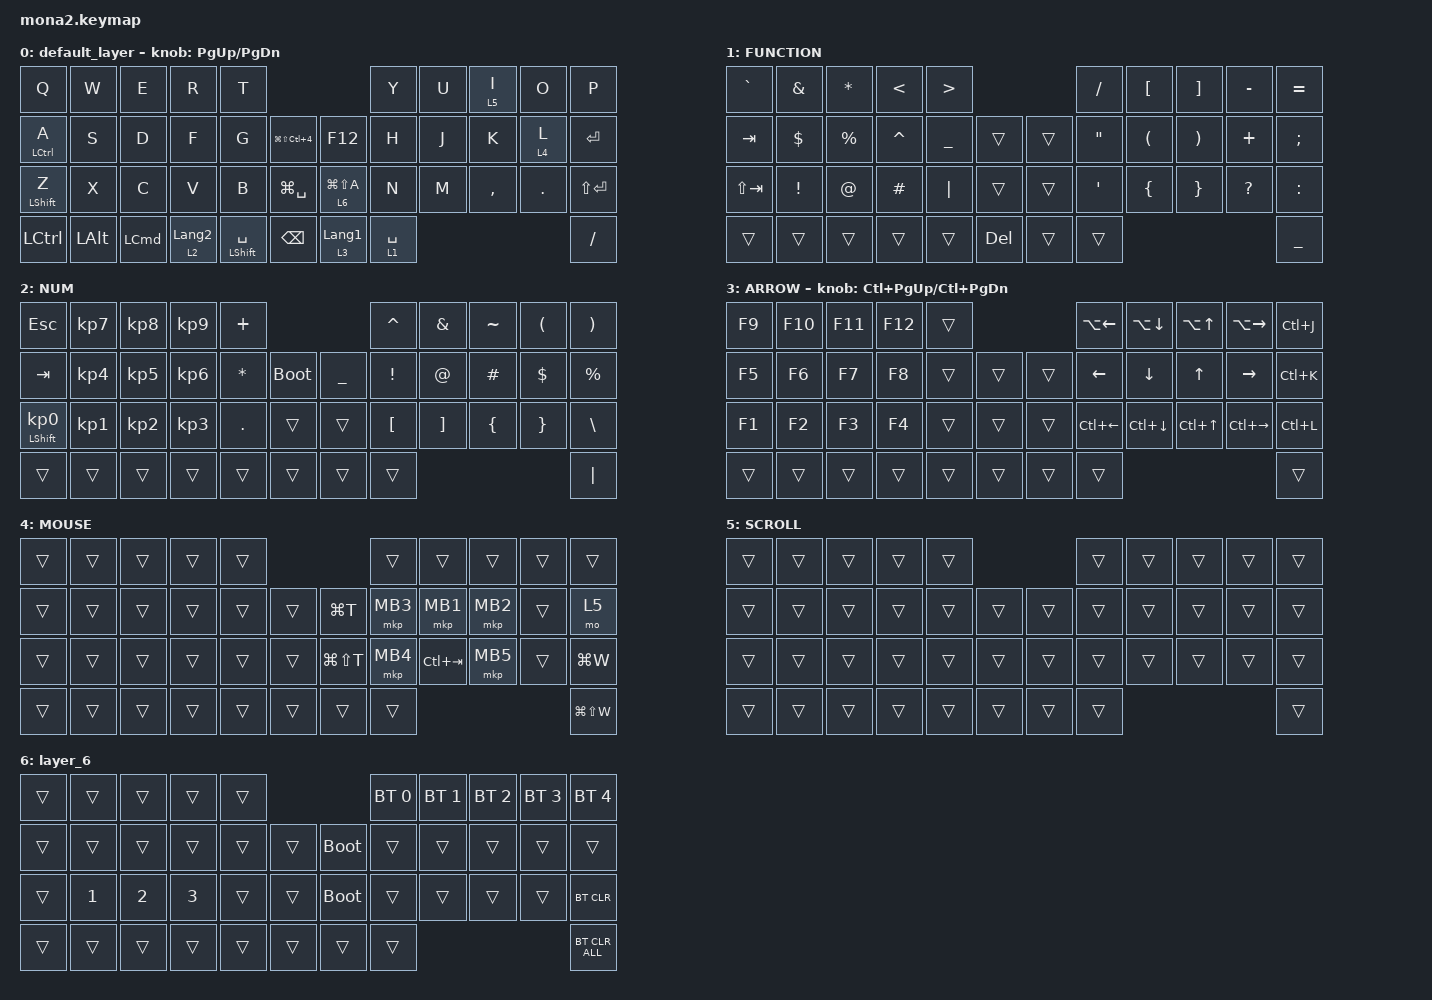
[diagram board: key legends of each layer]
#include <behaviors.dtsi>
#include <dt-bindings/zmk/bt.h>
#include <dt-bindings/zmk/keys.h>
#include <dt-bindings/zmk/pointing.h>

&mt {
    flavor = "balanced";
    quick-tap-ms = <0>;
};

// trackball configuration (disabled for mona2, only available on roBa)
// &trackball {
//     automouse-layer = <4>;
//     scroll-layers = <5>;
//
//     // arrows {
//     //     layers = <3>;
//     //     bindings =
//     //         <&kp RIGHT_ARROW>,
//     //         <&kp LEFT_ARROW>,
//     //         <&kp UP_ARROW>,
//     //         <&kp DOWN_ARROW>;
//     //     tick = <10>;
//     //     wait-ms = <5>;
//     //     tap-ms = <5>;
//     // };
// };

/ {
    combos {
        compatible = "zmk,combos";

        tab {
            bindings = <&kp TAB>;
            key-positions = <11 12>;
        };

        shift_tab {
            bindings = <&kp LS(TAB)>;
            key-positions = <12 13>;
        };

        muhennkann {
            bindings = <&to_layer_0 INT_MUHENKAN>;
            key-positions = <11 10>;
        };

        double_quotation {
            bindings = <&kp DOUBLE_QUOTES>;
            key-positions = <20 21>;
        };

        eq {
            bindings = <&kp EQUAL>;
            key-positions = <24 25>;
        };
    };

    macros {
        to_layer_0: to_layer_0 {
            compatible = "zmk,behavior-macro-one-param";
            #binding-cells = <1>;
            bindings = <&to 0 &macro_param_1to1 &kp MACRO_PLACEHOLDER>;
            label = "TO_LAYER_0";
        };
    };

    behaviors {
        lt_to_layer_0: lt_to_layer_0 {
            compatible = "zmk,behavior-hold-tap";
            label = "LAYER_TAP_TO_0";
            bindings = <&mo>, <&to_layer_0>;

            #binding-cells = <2>;
            tapping-term-ms = <200>;
        };
    };

    keymap {
        compatible = "zmk,keymap";

        default_layer {
            bindings = <
&kp Q               &kp W         &kp E             &kp R             &kp T                                                                 &kp Y        &kp U  &lt 5 I    &kp O    &kp P
&mt LEFT_CONTROL A  &kp S         &kp D             &kp F             &kp G                 &kp LG(LS(LC(NUMBER_4)))      &kp F12           &kp H        &kp J  &kp K      &lt 4 L  &kp ENTER
&mt LEFT_SHIFT Z    &kp X         &kp C             &kp V             &kp B                 &kp LG(SPACE)                 &lt 6 LG(LS(A))   &kp N        &kp M  &kp COMMA  &kp DOT  &kp LS(ENTER)
&kp LCTRL           &kp LEFT_ALT  &kp LEFT_COMMAND  &lt 2 LANGUAGE_2  &mt LEFT_SHIFT SPACE  &kp BACKSPACE                 &lt 3 LANGUAGE_1  &lt 1 SPACE                             &kp SLASH
            >;

            sensor-bindings = <&inc_dec_kp PG_UP PAGE_DOWN>;
        };

        FUNCTION {
            bindings = <
&kp GRAVE    &kp AMPERSAND    &kp ASTERISK  &kp LESS_THAN  &kp GREATER_THAN                          &kp SLASH          &kp LEFT_BRACKET      &kp RIGHT_BRACKET      &kp MINUS     &kp EQUAL
&kp TAB      &kp DOLLAR       &kp PERCENT   &kp CARET      &kp UNDER         &trans          &trans  &kp DOUBLE_QUOTES  &kp LEFT_PARENTHESIS  &kp RIGHT_PARENTHESIS  &kp PLUS      &kp SEMICOLON
&kp LS(TAB)  &kp EXCLAMATION  &kp AT_SIGN   &kp HASH       &kp PIPE          &trans          &trans  &kp SQT            &kp LEFT_BRACE        &kp RIGHT_BRACE        &kp QUESTION  &kp COLON
&trans       &trans           &trans        &trans         &trans            &kp DELETE      &trans  &trans                                                                        &kp UNDERSCORE
            >;
        };

        NUM {
            bindings = <
&kp ESCAPE                  &kp KP_NUMBER_7  &kp KP_NUMBER_8  &kp KP_NUMBER_9  &kp PLUS                                       &kp CARET         &kp AMPERSAND      &kp TILDE       &kp LEFT_PARENTHESIS  &kp RIGHT_PARENTHESIS
&kp TAB                     &kp KP_NUMBER_4  &kp KP_NUMBER_5  &kp KP_NUMBER_6  &kp ASTERISK  &bootloader      &kp UNDERSCORE  &kp EXCLAMATION   &kp AT_SIGN        &kp HASH        &kp DOLLAR            &kp PERCENT
&mt LEFT_SHIFT KP_NUMBER_0  &kp KP_NUMBER_1  &kp KP_NUMBER_2  &kp KP_NUMBER_3  &kp PERIOD    &trans           &trans          &kp LEFT_BRACKET  &kp RIGHT_BRACKET  &kp LEFT_BRACE  &kp RIGHT_BRACE       &kp BACKSLASH
&trans                      &trans           &trans           &trans           &trans        &trans           &trans          &trans                                                                     &kp PIPE
            >;
        };

        ARROW {
            bindings = <
&kp F9  &kp F10  &kp F11  &kp F12  &trans                      &kp LA(LEFT_ARROW)  &kp LA(DOWN_ARROW)  &kp LA(UP_ARROW)  &kp LA(RIGHT_ARROW)  &kp LC(J)
&kp F5  &kp F6   &kp F7   &kp F8   &trans  &trans      &trans  &kp LEFT_ARROW      &kp DOWN_ARROW      &kp UP_ARROW      &kp RIGHT_ARROW      &kp LC(K)
&kp F1  &kp F2   &kp F3   &kp F4   &trans  &trans      &trans  &kp LC(LEFT_ARROW)  &kp LC(DOWN_ARROW)  &kp LC(UP_ARROW)  &kp LC(RIGHT_ARROW)  &kp LC(L)
&trans  &trans   &trans   &trans   &trans  &trans      &trans  &trans                                                                         &trans
            >;

            sensor-bindings = <&inc_dec_kp LC(PAGE_UP) LC(PAGE_DOWN)>;
        };

        MOUSE {
            bindings = <
&trans  &trans  &trans  &trans  &trans                             &trans    &trans       &trans    &trans  &trans
&trans  &trans  &trans  &trans  &trans  &trans      &kp LG(T)      &mkp MB3  &mkp MB1     &mkp MB2  &trans  &mo 5
&trans  &trans  &trans  &trans  &trans  &trans      &kp LG(LS(T))  &mkp MB4  &kp LC(TAB)  &mkp MB5  &trans  &kp LG(W)
&trans  &trans  &trans  &trans  &trans  &trans      &trans         &trans                                   &kp LG(LS(W))
            >;
        };

        SCROLL {
            bindings = <
&trans  &trans  &trans  &trans  &trans                      &trans  &trans  &trans  &trans  &trans
&trans  &trans  &trans  &trans  &trans  &trans      &trans  &trans  &trans  &trans  &trans  &trans
&trans  &trans  &trans  &trans  &trans  &trans      &trans  &trans  &trans  &trans  &trans  &trans
&trans  &trans  &trans  &trans  &trans  &trans      &trans  &trans                          &trans
            >;
        };

        layer_6 {
            bindings = <
&trans  &trans        &trans        &trans        &trans                           &bt BT_SEL 0  &bt BT_SEL 1  &bt BT_SEL 2  &bt BT_SEL 3  &bt BT_SEL 4
&trans  &trans        &trans        &trans        &trans  &trans      &bootloader  &trans        &trans        &trans        &trans        &trans
&trans  &kp NUMBER_1  &kp NUMBER_2  &kp NUMBER_3  &trans  &trans      &bootloader  &trans        &trans        &trans        &trans        &bt BT_CLR
&trans  &trans        &trans        &trans        &trans  &trans      &trans       &trans                                                  &bt BT_CLR_ALL
            >;
        };
    };
};
